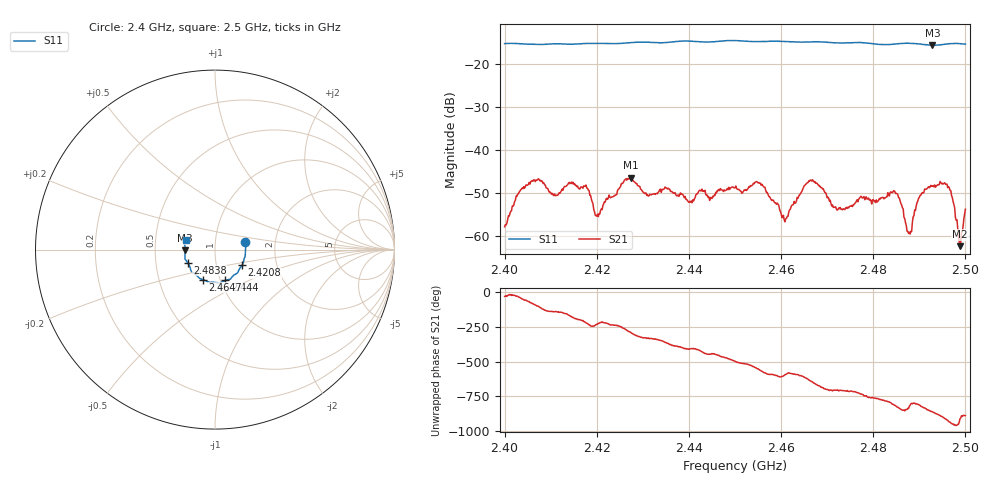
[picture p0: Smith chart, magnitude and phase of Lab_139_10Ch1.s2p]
# Hz S RI R 50
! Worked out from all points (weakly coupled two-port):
!   601 points, 2.4 GHz to 2.5 GHz, reference 50 ohm
!   highest |S21| = -46.39 dB at 2.4273 GHz (marker M1); lowest = -62.3 dB at 2.4988 GHz (marker M2)
!   lowest |S11| = -15.6 dB at 2.4928 GHz (marker M3), VSWR 1.40, Z = 35.8 - j0.351 ohm
!   |S11| at or under -10 dB: start of sweep to end of sweep
!   S12 and S22 are empty: the file has one direction only
!   S11 on the Smith chart (normalised r, x): 2.4 GHz: 1.40, +0.12; 2.4208 GHz: 1.33, -0.24; 2.444 GHz: 1.06, -0.37; 2.4647 GHz: 0.83, -0.29; 2.4838 GHz: 0.73, -0.11; 2.5 GHz: 0.72, +0.08
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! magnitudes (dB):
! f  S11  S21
! 2.4 GHz  -15.2  -57.8
! 2.4058 GHz  -15.4  -47.2
! 2.4167 GHz  -15.2  -48.5
! 2.4208 GHz  -15.2  -53.9
! 2.4273 GHz  -15.0  -46.4
! 2.4333 GHz  -15.0  -49.7
! 2.444 GHz  -14.9  -50.4
! 2.45 GHz  -14.5  -48.7
! 2.4553 GHz  -14.8  -47.6
! 2.4607 GHz  -14.7  -56.1
! 2.4647 GHz  -14.9  -49.1
! 2.4667 GHz  -14.8  -47.1
! 2.4725 GHz  -15.1  -53.4
! 2.4833 GHz  -15.5  -50.2
! 2.4838 GHz  -15.4  -49.6
! 2.4855 GHz  -15.3  -51.0
! 2.4878 GHz  -15.2  -59.0
! 2.49 GHz  -15.3  -50.9
! 2.4928 GHz  -15.6  -48.4
! 2.4963 GHz  -15.3  -48.4
! 2.4988 GHz  -15.3  -62.3
! 2.5 GHz  -15.4  -53.7
